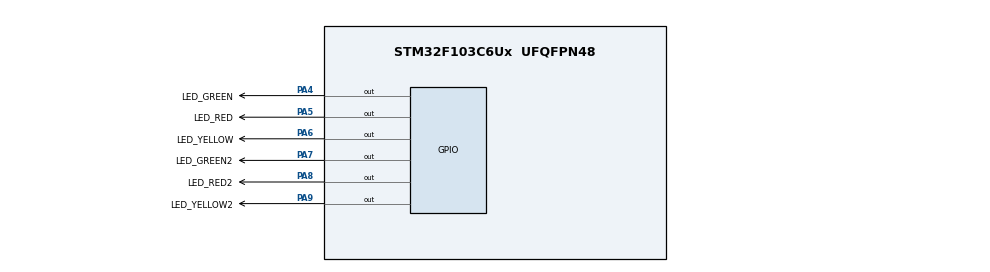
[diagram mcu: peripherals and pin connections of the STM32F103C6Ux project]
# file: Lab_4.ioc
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Mcu.Family=STM32F1
Mcu.Name=STM32F103C6Ux
Mcu.Package=UFQFPN48
NVIC.PriorityGroup=NVIC_PRIORITYGROUP_4
NVIC.TIM2_IRQn=true\:0\:0\:false\:false\:true\:true\:true
PA4.GPIO_Label=LED_GREEN
PA4.Signal=GPIO_Output
PA5.GPIO_Label=LED_RED
PA5.Signal=GPIO_Output
PA6.GPIO_Label=LED_YELLOW
PA6.Signal=GPIO_Output
PA7.GPIO_Label=LED_GREEN2
PA7.Signal=GPIO_Output
PA8.GPIO_Label=LED_RED2
PA8.Signal=GPIO_Output
PA9.GPIO_Label=LED_YELLOW2
PA9.Signal=GPIO_Output
ProjectManager.HeapSize=0x200
ProjectManager.StackSize=0x400
ProjectManager.TargetToolchain=STM32CubeIDE
RCC.APB1Freq_Value=8000000
RCC.APB2Freq_Value=8000000
TIM2.Period=9
TIM2.Prescaler=7999
VP_SYS_VS_ND.Mode=No_Debug
VP_TIM2_VS_ClockSourceINT.Mode=Internal
board=custom

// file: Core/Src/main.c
/* USER CODE BEGIN Header */
/**
  ******************************************************************************
  * @file           : main.c
  * @brief          : Main program body
  ******************************************************************************
  * @attention
  *
  * <h2><center>&copy; Copyright (c) 2023 STMicroelectronics.
  * All rights reserved.</center></h2>
  *
  * This software component is licensed by ST under BSD 3-Clause license,
  * the "License"; You may not use this file except in compliance with the
  * License. You may obtain a copy of the License at:
  *                        opensource.org/licenses/BSD-3-Clause
  *
  ******************************************************************************
  */
/* USER CODE END Header */
#include "main.h"
#include "cooperative_scheduler_O(1).h"
#include "software_timer.h"

TIM_HandleTypeDef htim2;

void SystemClock_Config(void);
static void MX_TIM2_Init(void);
static void MX_GPIO_Init(void);
/* USER CODE BEGIN PFP */
void toggle_led_red(void);
void toggle_led_green(void);
void toggle_led_yellow(void);
void toggle_led_red2(void);
void toggle_led_green2(void);
void led_on_yellow2(void);
/* USER CODE END PFP */

int main(void)
{

  /* MCU Configuration--------------------------------------------------------*/

  /* Reset of all peripherals, Initializes the Flash interface and the Systick. */
  HAL_Init();

  /* Configure the system clock */
  SystemClock_Config();

  /* Initialize all configured peripherals */
  MX_TIM2_Init();
  MX_GPIO_Init();
  /* USER CODE BEGIN 2 */
  HAL_TIM_Base_Start_IT(&htim2);
  SCH_Init();
  setTimer1(1);
  HAL_GPIO_WritePin(LED_YELLOW2_GPIO_Port, LED_YELLOW2_Pin, 0);
  SCH_Add_Task(toggle_led_red, 0, 50);
  SCH_Add_Task(toggle_led_green, 0, 100);
  SCH_Add_Task(toggle_led_yellow, 0, 150);
  SCH_Add_Task(toggle_led_red2, 0, 200);
  SCH_Add_Task(toggle_led_green2, 0, 250);
  SCH_Add_Task(led_on_yellow2, 300, 0);
  /* USER CODE END 2 */

  /* Infinite loop */
  while (1)
  {
	  if (timer1_flag == 1)
	  {
		  SCH_Dispatch_Tasks();
		  setTimer1(1);
	  }
  }
}

void SystemClock_Config(void)
{
  RCC_OscInitTypeDef RCC_OscInitStruct = {0};
  RCC_ClkInitTypeDef RCC_ClkInitStruct = {0};

  /** Initializes the RCC Oscillators according to the specified parameters
  * in the RCC_OscInitTypeDef structure.
  */
  RCC_OscInitStruct.OscillatorType = RCC_OSCILLATORTYPE_HSI;
  RCC_OscInitStruct.HSIState = RCC_HSI_ON;
  RCC_OscInitStruct.HSICalibrationValue = RCC_HSICALIBRATION_DEFAULT;
  RCC_OscInitStruct.PLL.PLLState = RCC_PLL_NONE;
  if (HAL_RCC_OscConfig(&RCC_OscInitStruct) != HAL_OK)
  {
    Error_Handler();
  }
  /** Initializes the CPU, AHB and APB buses clocks
  */
  RCC_ClkInitStruct.ClockType = RCC_CLOCKTYPE_HCLK|RCC_CLOCKTYPE_SYSCLK
                              |RCC_CLOCKTYPE_PCLK1|RCC_CLOCKTYPE_PCLK2;
  RCC_ClkInitStruct.SYSCLKSource = RCC_SYSCLKSOURCE_HSI;
  RCC_ClkInitStruct.AHBCLKDivider = RCC_SYSCLK_DIV1;
  RCC_ClkInitStruct.APB1CLKDivider = RCC_HCLK_DIV1;
  RCC_ClkInitStruct.APB2CLKDivider = RCC_HCLK_DIV1;

  if (HAL_RCC_ClockConfig(&RCC_ClkInitStruct, FLASH_LATENCY_0) != HAL_OK)
  {
    Error_Handler();
  }
}

static void MX_TIM2_Init(void)
{

  TIM_ClockConfigTypeDef sClockSourceConfig = {0};
  TIM_MasterConfigTypeDef sMasterConfig = {0};

  htim2.Instance = TIM2;
  htim2.Init.Prescaler = 7999;
  htim2.Init.CounterMode = TIM_COUNTERMODE_UP;
  htim2.Init.Period = 9;
  htim2.Init.ClockDivision = TIM_CLOCKDIVISION_DIV1;
  htim2.Init.AutoReloadPreload = TIM_AUTORELOAD_PRELOAD_DISABLE;
  if (HAL_TIM_Base_Init(&htim2) != HAL_OK)
  {
    Error_Handler();
  }
  sClockSourceConfig.ClockSource = TIM_CLOCKSOURCE_INTERNAL;
  if (HAL_TIM_ConfigClockSource(&htim2, &sClockSourceConfig) != HAL_OK)
  {
    Error_Handler();
  }
  sMasterConfig.MasterOutputTrigger = TIM_TRGO_RESET;
  sMasterConfig.MasterSlaveMode = TIM_MASTERSLAVEMODE_DISABLE;
  if (HAL_TIMEx_MasterConfigSynchronization(&htim2, &sMasterConfig) != HAL_OK)
  {
    Error_Handler();
  }

}

static void MX_GPIO_Init(void)
{
  GPIO_InitTypeDef GPIO_InitStruct = {0};

  /* GPIO Ports Clock Enable */
  __HAL_RCC_GPIOA_CLK_ENABLE();

  /*Configure GPIO pin Output Level */
  HAL_GPIO_WritePin(GPIOA, LED_GREEN_Pin|LED_RED_Pin|LED_YELLOW_Pin|LED_GREEN2_Pin
                          |LED_RED2_Pin|LED_YELLOW2_Pin, GPIO_PIN_RESET);

  /*Configure GPIO pins : LED_GREEN_Pin LED_RED_Pin LED_YELLOW_Pin LED_GREEN2_Pin
                           LED_RED2_Pin LED_YELLOW2_Pin */
  GPIO_InitStruct.Pin = LED_GREEN_Pin|LED_RED_Pin|LED_YELLOW_Pin|LED_GREEN2_Pin
                          |LED_RED2_Pin|LED_YELLOW2_Pin;
  GPIO_InitStruct.Mode = GPIO_MODE_OUTPUT_PP;
  GPIO_InitStruct.Pull = GPIO_NOPULL;
  GPIO_InitStruct.Speed = GPIO_SPEED_FREQ_LOW;
  HAL_GPIO_Init(GPIOA, &GPIO_InitStruct);

}

/* USER CODE BEGIN 4 */
void HAL_TIM_PeriodElapsedCallback(TIM_HandleTypeDef *htim)
{
	SCH_Update();
	timer1Run();
}
void toggle_led_red(void)
{
	HAL_GPIO_TogglePin(LED_RED_GPIO_Port, LED_RED_Pin);
}
void toggle_led_green(void)
{
	HAL_GPIO_TogglePin(LED_GREEN_GPIO_Port, LED_GREEN_Pin);
}
void toggle_led_yellow(void)
{
	HAL_GPIO_TogglePin(LED_YELLOW_GPIO_Port, LED_YELLOW_Pin);
}
void toggle_led_red2(void)
{
	HAL_GPIO_TogglePin(LED_RED2_GPIO_Port, LED_RED2_Pin);
}
void toggle_led_green2(void)
{
	HAL_GPIO_TogglePin(LED_GREEN2_GPIO_Port, LED_GREEN2_Pin);
}
void led_on_yellow2(void)
{
//	HAL_GPIO_TogglePin(LED_YELLOW2_GPIO_Port, LED_YELLOW2_Pin);
	HAL_GPIO_WritePin(LED_YELLOW2_GPIO_Port, LED_YELLOW2_Pin, 1);
}
/* USER CODE END 4 */

void Error_Handler(void)
{
  __disable_irq();
  while (1)
  {
  }
}

/************************ (C) COPYRIGHT STMicroelectronics *****END OF FILE****/
